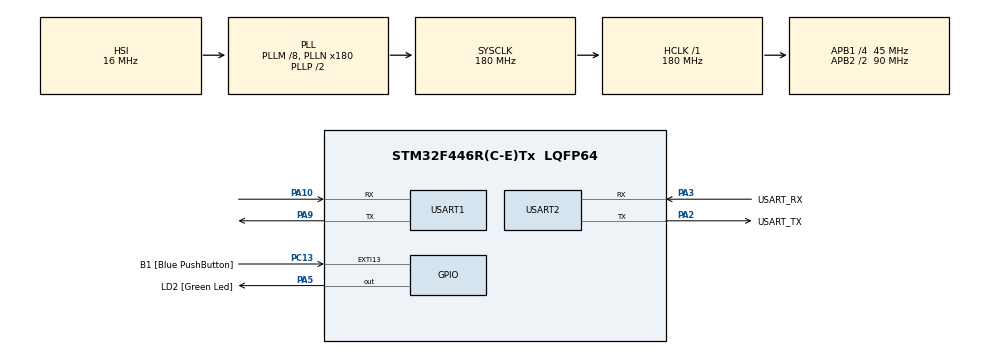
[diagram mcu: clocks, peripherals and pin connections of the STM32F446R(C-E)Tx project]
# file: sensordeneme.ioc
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Dma.Request0=USART1_RX
Dma.USART1_RX.0.Direction=DMA_PERIPH_TO_MEMORY
Dma.USART1_RX.0.FIFOMode=DMA_FIFOMODE_DISABLE
Dma.USART1_RX.0.Instance=DMA2_Stream2
Dma.USART1_RX.0.MemDataAlignment=DMA_MDATAALIGN_BYTE
Dma.USART1_RX.0.MemInc=DMA_MINC_ENABLE
Dma.USART1_RX.0.Mode=DMA_CIRCULAR
Dma.USART1_RX.0.PeriphDataAlignment=DMA_PDATAALIGN_BYTE
Dma.USART1_RX.0.PeriphInc=DMA_PINC_DISABLE
Dma.USART1_RX.0.Priority=DMA_PRIORITY_LOW
Mcu.Family=STM32F4
Mcu.Name=STM32F446R(C-E)Tx
Mcu.Package=LQFP64
NVIC.DMA2_Stream2_IRQn=true\:0\:0\:false\:false\:true\:false\:true\:true
NVIC.PriorityGroup=NVIC_PRIORITYGROUP_0
NVIC.USART1_IRQn=true\:0\:0\:false\:false\:true\:true\:true\:true
PA10.Mode=Asynchronous
PA10.Signal=USART1_RX
PA13.GPIO_Label=TMS
PA13.Mode=Serial_Wire
PA13.Signal=SYS_JTMS-SWDIO
PA14.GPIO_Label=TCK
PA14.Mode=Serial_Wire
PA14.Signal=SYS_JTCK-SWCLK
PA2.GPIO_Label=USART_TX
PA2.Mode=Asynchronous
PA2.Signal=USART2_TX
PA3.GPIO_Label=USART_RX
PA3.Mode=Asynchronous
PA3.Signal=USART2_RX
PA5.GPIO_Label=LD2 [Green Led]
PA5.Signal=GPIO_Output
PA9.Mode=Asynchronous
PA9.Signal=USART1_TX
PB3.GPIO_Label=SWO
PB3.Signal=SYS_JTDO-SWO
PC13.GPIO_Label=B1 [Blue PushButton]
PC13.GPIO_ModeDefaultEXTI=GPIO_MODE_IT_FALLING
PC13.Signal=GPXTI13
PC14-OSC32_IN.Mode=LSE-External-Oscillator
PC14-OSC32_IN.Signal=RCC_OSC32_IN
PC15-OSC32_OUT.Mode=LSE-External-Oscillator
PC15-OSC32_OUT.Signal=RCC_OSC32_OUT
PH0-OSC_IN.Mode=HSE-External-Oscillator
PH0-OSC_IN.Signal=RCC_OSC_IN
PH1-OSC_OUT.Mode=HSE-External-Oscillator
PH1-OSC_OUT.Signal=RCC_OSC_OUT
ProjectManager.HeapSize=0x200
ProjectManager.StackSize=0x400
ProjectManager.TargetToolchain=STM32CubeIDE
RCC.48MHZClocksFreq_Value=84000000
RCC.AHBFreq_Value=180000000
RCC.APB1CLKDivider=RCC_HCLK_DIV4
RCC.APB1Freq_Value=45000000
RCC.APB1TimFreq_Value=90000000
RCC.APB2CLKDivider=RCC_HCLK_DIV2
RCC.APB2Freq_Value=90000000
RCC.APB2TimFreq_Value=180000000
RCC.CortexFreq_Value=180000000
RCC.FLatency-AdvancedSettings=FLASH_LATENCY_5
RCC.HCLKFreq_Value=180000000
RCC.HSE_VALUE=8000000
RCC.HSI_VALUE=16000000
RCC.PLLM=8
RCC.PLLN=180
RCC.SYSCLKFreq_VALUE=180000000
RCC.SYSCLKSource=RCC_SYSCLKSOURCE_PLLCLK
RCC.USBFreq_Value=180000000
RCC.VCOOutputFreq_Value=360000000
USART1.VirtualMode=VM_ASYNC
USART2.VirtualMode=VM_ASYNC
board=NUCLEO-F446RE

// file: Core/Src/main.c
/* USER CODE BEGIN Header */
/**
  ******************************************************************************
  * @file           : main.c
  * @brief          : Main program body
  ******************************************************************************
  * @attention
  *
  * Copyright (c) 2026 STMicroelectronics.
  * All rights reserved.
  *
  * This software is licensed under terms that can be found in the LICENSE file
  * in the root directory of this software component.
  * If no LICENSE file comes with this software, it is provided AS-IS.
  *
  ******************************************************************************
  */
/* USER CODE END Header */
#include "main.h"
#include "dma.h"
#include "usart.h"
#include "gpio.h"
#include <string.h>
#include <stdio.h>

/* USER CODE BEGIN PTD */
// Sensor packet structure (9 bytes)
// Format: [Header(0x59,0x59)] [Dist_L] [Dist_H] [Strength_L] [Strength_H] [Temp_L] [Temp_H] [CRC] [Reserved]
typedef struct {
    uint8_t header[2];      // 0x59, 0x59
    uint8_t distLow;        // Distance low byte
    uint8_t distHigh;       // Distance high byte
    uint8_t strengthLow;    // Signal strength low byte
    uint8_t strengthHigh;   // Signal strength high byte
    uint8_t tempLow;        // Temperature low byte
    uint8_t tempHigh;       // Temperature high byte
    uint8_t crc;            // Checksum
} SensorPacket_t;

/* USER CODE END PTD */

/* USER CODE BEGIN PD */
#define SENSOR_PACKET_SIZE      9       // Single packet size
#define SENSOR_BUF_SIZE         18      // Buffer for 2 packets (for safety)
#define SENSOR_HEADER_BYTE1     0x59    // First header byte
#define SENSOR_HEADER_BYTE2     0x59    // Second header byte
#define UART_TIMEOUT_MS         100     // UART transmit timeout
#define MAX_DISTANCE_CM         1200    // Maximum valid distance in cm
#define TEST_MODE               1       // Set to 1 for raw data test, 0 for normal operation

// Connection test parameters
#define CONNECTION_TIMEOUT_MS   2000    // Timeout for sensor connection test (2 seconds)
#define LED_BLINK_INTERVAL_MS   500     // LED blink interval for status indication

/* USER CODE END PD */

/* USER CODE BEGIN PM */
// Calculate distance from packet bytes
#define CALCULATE_DISTANCE(low, high)   ((uint16_t)(low) | ((uint16_t)(high) << 8))

// Calculate signal strength from packet bytes
#define CALCULATE_STRENGTH(low, high)   ((uint16_t)(low) | ((uint16_t)(high) << 8))

// Calculate temperature from packet bytes (signed)
#define CALCULATE_TEMPERATURE(low, high) ((int16_t)(low) | ((int16_t)(high) << 8))

/* USER CODE END PM */

/* USER CODE BEGIN PV */
// UART1 receive buffer (DMA will fill this)
uint8_t rxBuffer[SENSOR_BUF_SIZE];

// Processed sensor packet
SensorPacket_t sensorPacket;

// Processed sensor data
uint16_t distance = 0;          // Distance in cm
uint16_t signalStrength = 0;    // Signal strength
int16_t temperature = 0;        // Temperature

// Buffer management
volatile uint8_t dmaCompleteFlag = 0;  // Flag to indicate DMA completion
uint16_t bytesReceived = 0;            // Number of bytes received

// Connection test variables
uint32_t lastDataReceivedTime = 0;     // Timestamp of last received data
uint8_t sensorConnected = 0;            // Sensor connection status (0=not connected, 1=connected)
uint32_t ledBlinkTime = 0;             // LED blink timing
uint8_t ledState = 0;                  // Current LED state

/* USER CODE END PV */

void SystemClock_Config(void);
/* USER CODE BEGIN PFP */
// Function prototypes
static uint8_t FindPacketHeader(uint8_t *buffer, uint16_t bufferSize, uint16_t *packetIndex);
static uint8_t ValidatePacket(uint8_t *packet);
static uint8_t CalculateCRC(uint8_t *packet, uint8_t length);
static void ProcessSensorPacket(uint8_t *packet);
static void SendDataToPC(void);
static void SendRawDataToPC(uint8_t *data, uint16_t length);
static void UpdateConnectionStatus(void);
static void UpdateLEDStatus(void);
/* USER CODE END PFP */

/* USER CODE BEGIN 0 */

/**
  * @brief  Find packet header in buffer
  * @param  buffer: Pointer to receive buffer
  * @param  bufferSize: Size of buffer
  * @param  packetIndex: Output parameter for packet start index
  * @retval 1 if header found, 0 otherwise
  */
static uint8_t FindPacketHeader(uint8_t *buffer, uint16_t bufferSize, uint16_t *packetIndex)
{
    for (uint16_t i = 0; i < bufferSize - 1; i++)
    {
        if (buffer[i] == SENSOR_HEADER_BYTE1 && buffer[i + 1] == SENSOR_HEADER_BYTE2)
        {
            *packetIndex = i;
            return 1;
        }
    }
    return 0;
}

/**
  * @brief  Calculate CRC checksum for packet validation
  * @param  packet: Pointer to packet data
  * @param  length: Length of data to calculate CRC for
  * @retval Calculated CRC value
  */
static uint8_t CalculateCRC(uint8_t *packet, uint8_t length)
{
    uint8_t crc = 0;
    for (uint8_t i = 0; i < length; i++)
    {
        crc += packet[i];
    }
    return crc;
}

/**
  * @brief  Validate sensor packet
  * @param  packet: Pointer to 9-byte packet
  * @retval 1 if valid, 0 otherwise
  */
static uint8_t ValidatePacket(uint8_t *packet)
{
    // Check header
    if (packet[0] != SENSOR_HEADER_BYTE1 || packet[1] != SENSOR_HEADER_BYTE2)
    {
        return 0;
    }

    // Calculate and verify CRC (CRC is sum of first 8 bytes)
    uint8_t calculatedCRC = CalculateCRC(packet, 8);
    if (calculatedCRC != packet[8])
    {
        return 0;
    }

    return 1;
}

/**
  * @brief  Process valid sensor packet and extract data
  * @param  packet: Pointer to validated 9-byte packet
  * @retval None
  */
static void ProcessSensorPacket(uint8_t *packet)
{
    // Extract distance
    distance = CALCULATE_DISTANCE(packet[2], packet[3]);

    // Extract signal strength
    signalStrength = CALCULATE_STRENGTH(packet[4], packet[5]);

    // Extract temperature
    temperature = CALCULATE_TEMPERATURE(packet[6], packet[7]);

    // Validate distance range (typical LiDAR sensors have max range)
    if (distance > MAX_DISTANCE_CM)
    {
        distance = 0;  // Invalid reading
    }
}

/**
  * @brief  Send processed sensor data to PC via UART2
  * @retval None
  */
static void SendDataToPC(void)
{
    char txBuffer[64];
    int len;

    // Format: "D:XXX,S:XXXX,T:XXX\n"
    len = snprintf(txBuffer, sizeof(txBuffer),
                   "D:%03d,S:%04d,T:%03d\n",
                   distance, signalStrength, temperature);

    if (len > 0 && len < sizeof(txBuffer))
    {
        HAL_UART_Transmit(&huart2, (uint8_t*)txBuffer, len, UART_TIMEOUT_MS);
    }
}

/**
  * @brief  Send raw sensor data in hex format to PC (for testing)
  * @param  data: Pointer to data buffer
  * @param  length: Length of data
  * @retval None
  */
static void SendRawDataToPC(uint8_t *data, uint16_t length)
{
    char txBuffer[128];
    int pos = 0;

    // Format: "RAW[XX XX XX ...]\n"
    pos = snprintf(txBuffer, sizeof(txBuffer), "RAW[");

    for (uint16_t i = 0; i < length && pos < (sizeof(txBuffer) - 10); i++)
    {
        pos += snprintf(&txBuffer[pos], sizeof(txBuffer) - pos, "%02X ", data[i]);
    }

    if (pos < sizeof(txBuffer) - 2)
    {
        txBuffer[pos++] = ']';
        txBuffer[pos++] = '\n';
        txBuffer[pos] = '\0';

        HAL_UART_Transmit(&huart2, (uint8_t*)txBuffer, pos, UART_TIMEOUT_MS);
    }
}

/**
  * @brief  Update sensor connection status based on data reception
  * @retval None
  */
static void UpdateConnectionStatus(void)
{
    uint32_t currentTime = HAL_GetTick();

    // Check if data was received recently
    if (dmaCompleteFlag)
    {
        lastDataReceivedTime = currentTime;
        if (!sensorConnected)
        {
            sensorConnected = 1;
            // Send connection status to PC
            const char *connMsg = ">>> SENSOR CONNECTED! <<<\n";
            HAL_UART_Transmit(&huart2, (uint8_t*)connMsg, strlen(connMsg), UART_TIMEOUT_MS);
        }
    }
    else
    {
        // Check timeout
        if (sensorConnected && (currentTime - lastDataReceivedTime) > CONNECTION_TIMEOUT_MS)
        {
            sensorConnected = 0;
            // Send disconnection status to PC
            const char *disconnMsg = ">>> SENSOR DISCONNECTED! <<<\n";
            HAL_UART_Transmit(&huart2, (uint8_t*)disconnMsg, strlen(disconnMsg), UART_TIMEOUT_MS);
        }
    }
}

/**
  * @brief  Update LED status based on sensor connection
  * @note   LED pin configuration for Nucleo-F446RE:
  *         LED2 (Green): PA5 - User LED on board
  *         LED3 (Red): PB14 or PB0 - User LED on board
  *
  *         To enable LED:
  *         1. Configure PA5 as GPIO_Output in CubeMX
  *         2. Uncomment the HAL_GPIO_WritePin line below
  *         3. Or use your custom LED pin configuration
  * @retval None
  */
static void UpdateLEDStatus(void)
{
    uint32_t currentTime = HAL_GetTick();

    // Toggle LED based on connection status
    if ((currentTime - ledBlinkTime) >= LED_BLINK_INTERVAL_MS)
    {
        ledBlinkTime = currentTime;
        ledState = !ledState;

        // LED2 (Green) on PA5 - Uncomment if configured in CubeMX
        // HAL_GPIO_WritePin(GPIOA, GPIO_PIN_5, ledState ? GPIO_PIN_SET : GPIO_PIN_RESET);

        // Alternative: LED3 (Red) on PB14 - Uncomment if configured in CubeMX
        // HAL_GPIO_WritePin(GPIOB, GPIO_PIN_14, ledState ? GPIO_PIN_SET : GPIO_PIN_RESET);

        // Note: LED will blink fast when connected, slow when disconnected
        // You can modify LED_BLINK_INTERVAL_MS for different blink speeds
    }
}

/* USER CODE END 0 */

int main(void)
{

  /* MCU Configuration--------------------------------------------------------*/

  /* Reset of all peripherals, Initializes the Flash interface and the Systick. */
  HAL_Init();

  /* Configure the system clock */
  SystemClock_Config();

  /* Initialize all configured peripherals */
  MX_GPIO_Init();
  MX_DMA_Init();
  MX_USART1_UART_Init();
  MX_USART2_UART_Init();

  /* USER CODE BEGIN 2 */
  // Initialize sensor data
  distance = 0;
  signalStrength = 0;
  temperature = 0;
  dmaCompleteFlag = 0;
  sensorConnected = 0;
  lastDataReceivedTime = HAL_GetTick();
  ledBlinkTime = HAL_GetTick();
  ledState = 0;

  // Send startup message to PC
  #if TEST_MODE
  const char *startMsg = "========================================\n"
                          "STM32 SEN0885 LiDAR Connection Test\n"
                          "========================================\n"
                          "Waiting for sensor data...\n"
                          "If sensor is connected, you should see:\n"
                          "  - RAW data packets\n"
                          "  - Header detection messages\n"
                          "  - LED blinking when data received\n"
                          "========================================\n";
  #else
  const char *startMsg = "STM32 Sensor Ready\n";
  #endif
  HAL_UART_Transmit(&huart2, (uint8_t*)startMsg, strlen(startMsg), UART_TIMEOUT_MS);

  // Start DMA reception for UART1 (sensor data)
  HAL_UART_Receive_DMA(&huart1, rxBuffer, SENSOR_BUF_SIZE);

  /* USER CODE END 2 */

  /* Infinite loop */
  while (1)
  {

    /* USER CODE BEGIN 3 */
    // Update connection status
    UpdateConnectionStatus();

    // Update LED status
    UpdateLEDStatus();

    // Check if DMA transfer is complete
    if (dmaCompleteFlag)
    {
        // Reset flag
        dmaCompleteFlag = 0;

        // Update last data received time
        lastDataReceivedTime = HAL_GetTick();

        #if TEST_MODE
        // TEST MODE: Send raw data in hex format
        SendRawDataToPC(rxBuffer, SENSOR_BUF_SIZE);

        // Also check for header and send info
        uint16_t packetIndex = 0;
        if (FindPacketHeader(rxBuffer, SENSOR_BUF_SIZE, &packetIndex))
        {
            char infoMsg[64];
            int len = snprintf(infoMsg, sizeof(infoMsg),
                              "[OK] Header found at index: %d\n", packetIndex);
            HAL_UART_Transmit(&huart2, (uint8_t*)infoMsg, len, UART_TIMEOUT_MS);

            // Try to validate packet
            if (packetIndex + SENSOR_PACKET_SIZE <= SENSOR_BUF_SIZE)
            {
                if (ValidatePacket(&rxBuffer[packetIndex]))
                {
                    ProcessSensorPacket(&rxBuffer[packetIndex]);
                    char validMsg[80];
                    len = snprintf(validMsg, sizeof(validMsg),
                                   "[VALID] Distance:%dcm Strength:%d Temp:%d\n",
                                   distance, signalStrength, temperature);
                    HAL_UART_Transmit(&huart2, (uint8_t*)validMsg, len, UART_TIMEOUT_MS);
                }
                else
                {
                    const char *invalidMsg = "[ERROR] Invalid CRC - Check wiring!\n";
                    HAL_UART_Transmit(&huart2, (uint8_t*)invalidMsg, strlen(invalidMsg), UART_TIMEOUT_MS);
                }
            }
        }
        else
        {
            const char *noHeaderMsg = "[WARNING] No header found - Check baud rate!\n";
            HAL_UART_Transmit(&huart2, (uint8_t*)noHeaderMsg, strlen(noHeaderMsg), UART_TIMEOUT_MS);
        }
        #else
        // NORMAL MODE: Process packets normally
        // Find packet header in buffer
        uint16_t packetIndex = 0;
        if (FindPacketHeader(rxBuffer, SENSOR_BUF_SIZE, &packetIndex))
        {
            // Check if we have a complete packet
            if (packetIndex + SENSOR_PACKET_SIZE <= SENSOR_BUF_SIZE)
            {
                // Validate packet
                if (ValidatePacket(&rxBuffer[packetIndex]))
                {
                    // Process valid packet
                    ProcessSensorPacket(&rxBuffer[packetIndex]);

                    // Send data to PC
                    SendDataToPC();
                }
                else
                {
                    // Invalid packet - send error marker
                    uint8_t errorMarker = 'E';
                    HAL_UART_Transmit(&huart2, &errorMarker, 1, UART_TIMEOUT_MS);
                }
            }
        }
        else
        {
            // Header not found - send error marker
            uint8_t errorMarker = 'H';
            HAL_UART_Transmit(&huart2, &errorMarker, 1, UART_TIMEOUT_MS);
        }
        #endif

        // Restart DMA reception
        HAL_UART_Receive_DMA(&huart1, rxBuffer, SENSOR_BUF_SIZE);
    }

    // Check for timeout - send periodic status if no data
    uint32_t currentTime = HAL_GetTick();
    static uint32_t lastStatusTime = 0;
    if ((currentTime - lastStatusTime) > 5000) // Every 5 seconds
    {
        lastStatusTime = currentTime;
        if (!sensorConnected)
        {
            char statusMsg[64];
            int len = snprintf(statusMsg, sizeof(statusMsg),
                              "[STATUS] No sensor data for %lu ms - Check connections!\n",
                              currentTime - lastDataReceivedTime);
            HAL_UART_Transmit(&huart2, (uint8_t*)statusMsg, len, UART_TIMEOUT_MS);
        }
    }

    // Small delay to prevent CPU spinning
    HAL_Delay(1);
  }

  /* USER CODE END 3 */
}

void SystemClock_Config(void)
{
  RCC_OscInitTypeDef RCC_OscInitStruct = {0};
  RCC_ClkInitTypeDef RCC_ClkInitStruct = {0};

  /** Configure the main internal regulator output voltage
  */
  __HAL_RCC_PWR_CLK_ENABLE();
  __HAL_PWR_VOLTAGESCALING_CONFIG(PWR_REGULATOR_VOLTAGE_SCALE1);

  /** Initializes the RCC Oscillators according to the specified parameters
  * in the RCC_OscInitTypeDef structure.
  */
  RCC_OscInitStruct.OscillatorType = RCC_OSCILLATORTYPE_HSI;
  RCC_OscInitStruct.HSIState = RCC_HSI_ON;
  RCC_OscInitStruct.HSICalibrationValue = RCC_HSICALIBRATION_DEFAULT;
  RCC_OscInitStruct.PLL.PLLState = RCC_PLL_ON;
  RCC_OscInitStruct.PLL.PLLSource = RCC_PLLSOURCE_HSI;
  RCC_OscInitStruct.PLL.PLLM = 8;
  RCC_OscInitStruct.PLL.PLLN = 180;
  RCC_OscInitStruct.PLL.PLLP = RCC_PLLP_DIV2;
  RCC_OscInitStruct.PLL.PLLQ = 2;
  RCC_OscInitStruct.PLL.PLLR = 2;
  if (HAL_RCC_OscConfig(&RCC_OscInitStruct) != HAL_OK)
  {
    Error_Handler();
  }

  /** Activate the Over-Drive mode
  */
  if (HAL_PWREx_EnableOverDrive() != HAL_OK)
  {
    Error_Handler();
  }

  /** Initializes the CPU, AHB and APB buses clocks
  */
  RCC_ClkInitStruct.ClockType = RCC_CLOCKTYPE_HCLK|RCC_CLOCKTYPE_SYSCLK
                              |RCC_CLOCKTYPE_PCLK1|RCC_CLOCKTYPE_PCLK2;
  RCC_ClkInitStruct.SYSCLKSource = RCC_SYSCLKSOURCE_PLLCLK;
  RCC_ClkInitStruct.AHBCLKDivider = RCC_SYSCLK_DIV1;
  RCC_ClkInitStruct.APB1CLKDivider = RCC_HCLK_DIV4;
  RCC_ClkInitStruct.APB2CLKDivider = RCC_HCLK_DIV2;

  if (HAL_RCC_ClockConfig(&RCC_ClkInitStruct, FLASH_LATENCY_5) != HAL_OK)
  {
    Error_Handler();
  }
}

/* USER CODE BEGIN 4 */

/**
  * @brief  UART receive complete callback (called when DMA transfer completes)
  * @param  huart: UART handle
  * @retval None
  */
void HAL_UART_RxCpltCallback(UART_HandleTypeDef *huart)
{
    if (huart->Instance == USART1)
    {
        // Set flag to indicate DMA completion
        // Main loop will process the data
        dmaCompleteFlag = 1;
    }
}

/**
  * @brief  UART error callback (called on UART errors)
  * @param  huart: UART handle
  * @retval None
  */
void HAL_UART_ErrorCallback(UART_HandleTypeDef *huart)
{
    if (huart->Instance == USART1)
    {
        // Restart DMA reception on error
        HAL_UART_Receive_DMA(&huart1, rxBuffer, SENSOR_BUF_SIZE);
    }
}

/* USER CODE END 4 */

void Error_Handler(void)
{
  __disable_irq();
  while (1)
  {
  }
}
